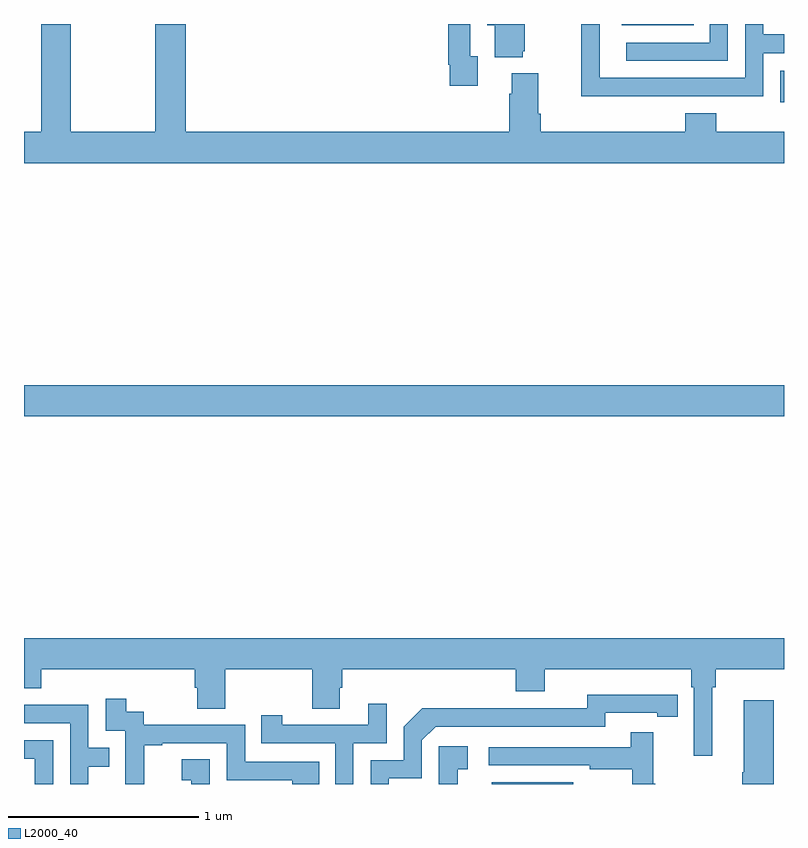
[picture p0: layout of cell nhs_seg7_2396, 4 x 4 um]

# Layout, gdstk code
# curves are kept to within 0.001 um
import gdstk
lib = gdstk.Library(unit=1e-6, precision=1e-09)
def R(c, l, rs):  # rectangles x0, y0, x1, y1
    for r in rs: c.add(gdstk.rectangle(r[:2], r[2:], *l))
def P(c, l, *ps):  # polygons
    for p in ps: c.add(gdstk.Polygon(p, *l))
L2000_40 = (2000, 40)

nhs_seg7_2396 = lib.new_cell('nhs_seg7_2396')
R(nhs_seg7_2396, L2000_40, [(269.462,1012,269.89,1012.009), (267,1013.936,271,1014.1), (270.981,1015.587,271,1015.755), (270.146,1015.994,270.524,1016)])
P(nhs_seg7_2396, L2000_40, [(269.389,1015.83),(269.349,1015.83),(269.349,1016),(269.233,1016),(269.233,1015.786),(269.241,1015.786),(269.241,1015.674),(269.389,1015.674)],
  [(271,1015.432),(270.644,1015.432),(270.644,1015.531),(270.479,1015.531),(270.479,1015.432),(269.72,1015.432),(269.72,1015.528),(269.707,1015.528),(269.707,1015.741),(269.567,1015.741),(269.567,1015.634),(269.555,1015.634),(269.555,1015.432),(267.851,1015.432),(267.851,1016),(267.691,1016),(267.691,1015.432),(267.246,1015.432),(267.246,1016),(267.091,1016),(267.091,1015.432),(267,1015.432),(267,1015.268),(271,1015.268)],
  [(270.705,1016),(270.609,1016),(270.609,1015.902),(270.171,1015.902),(270.171,1015.806),(270.705,1015.806)],
  [(269.624,1015.857),(269.635,1015.857),(269.635,1016),(269.438,1016),(269.438,1015.994),(269.477,1015.994),(269.477,1015.826),(269.624,1015.826)],
  [(270.395,1015.62),(270.891,1015.62),(270.891,1015.845),(271,1015.845),(271,1015.946),(270.891,1015.946),(270.891,1016),(270.795,1016),(270.795,1015.716),(270.03,1015.716),(270.03,1016),(269.934,1016),(269.934,1015.925),(269.932,1015.925),(269.932,1015.619),(270.395,1015.619)],
  [(270.622,1012.508),(270.641,1012.508),(270.641,1012.604),(271,1012.604),(271,1012.768),(267,1012.768),(267,1012.505),(267.092,1012.505),(267.092,1012.604),(267.899,1012.604),(267.899,1012.506),(267.911,1012.506),(267.911,1012.396),(268.059,1012.396),(268.059,1012.604),(268.516,1012.604),(268.516,1012.396),(268.663,1012.396),(268.663,1012.506),(268.676,1012.506),(268.676,1012.604),(269.588,1012.604),(269.588,1012.487),(269.74,1012.487),(269.74,1012.604),(270.512,1012.604),(270.512,1012.508),(270.525,1012.508),(270.525,1012.149),(270.622,1012.149)],
  [(268.921,1012.029),(269.094,1012.029),(269.094,1012.23),(269.166,1012.302),(270.06,1012.302),(270.06,1012.374),(270.332,1012.374),(270.332,1012.354),(270.44,1012.354),(270.44,1012.47),(269.964,1012.471),(269.964,1012.398),(269.504,1012.398),(269.504,1012.4),(269.096,1012.4),(268.998,1012.302),(268.998,1012.125),(268.824,1012.125),(268.824,1012),(268.921,1012)],
  [(267.632,1012.203),(267.727,1012.203),(267.727,1012.215),(268.068,1012.215),(268.068,1012.02),(268.413,1012.02),(268.413,1012),(268.553,1012),(268.553,1012.116),(268.164,1012.116),(268.164,1012.311),(267.63,1012.311),(267.63,1012.38),(267.538,1012.38),(267.538,1012.45),(267.429,1012.45),(267.429,1012.281),(267.534,1012.281),(267.534,1012.052),(267.533,1012.052),(267.533,1012),(267.632,1012)],
  [(270.947,1012.441),(270.788,1012.441),(270.788,1012.061),(270.781,1012.061),(270.781,1012),(270.947,1012)],
  [(268.734,1012.215),(268.908,1012.215),(268.908,1012.423),(268.811,1012.423),(268.811,1012.311),(268.36,1012.311),(268.36,1012.363),(268.249,1012.363),(268.249,1012.215),(268.638,1012.215),(268.638,1012),(268.734,1012)],
  [(267.339,1012.09),(267.449,1012.09),(267.449,1012.191),(267.339,1012.191),(267.339,1012.416),(267,1012.416),(267,1012.32),(267.243,1012.32),(267.243,1012),(267.339,1012)],
  [(270.322,1012.001),(270.311,1012.001),(270.311,1012.273),(270.193,1012.273),(270.193,1012.194),(269.445,1012.194),(269.445,1012.098),(269.977,1012.098),(269.977,1012.078),(270.201,1012.078),(270.201,1012),(270.322,1012)],
  [(267.153,1012.23),(267,1012.23),(267,1012.134),(267.057,1012.134),(267.057,1012),(267.153,1012)],
  [(269.282,1012.077),(269.335,1012.077),(269.335,1012.198),(269.184,1012.198),(269.184,1012),(269.282,1012)],
  [(267.978,1012.129),(267.831,1012.129),(267.831,1012.019),(267.88,1012.019),(267.88,1012),(267.978,1012)])

lib.write_gds('nhs_seg7_2396.gds')
